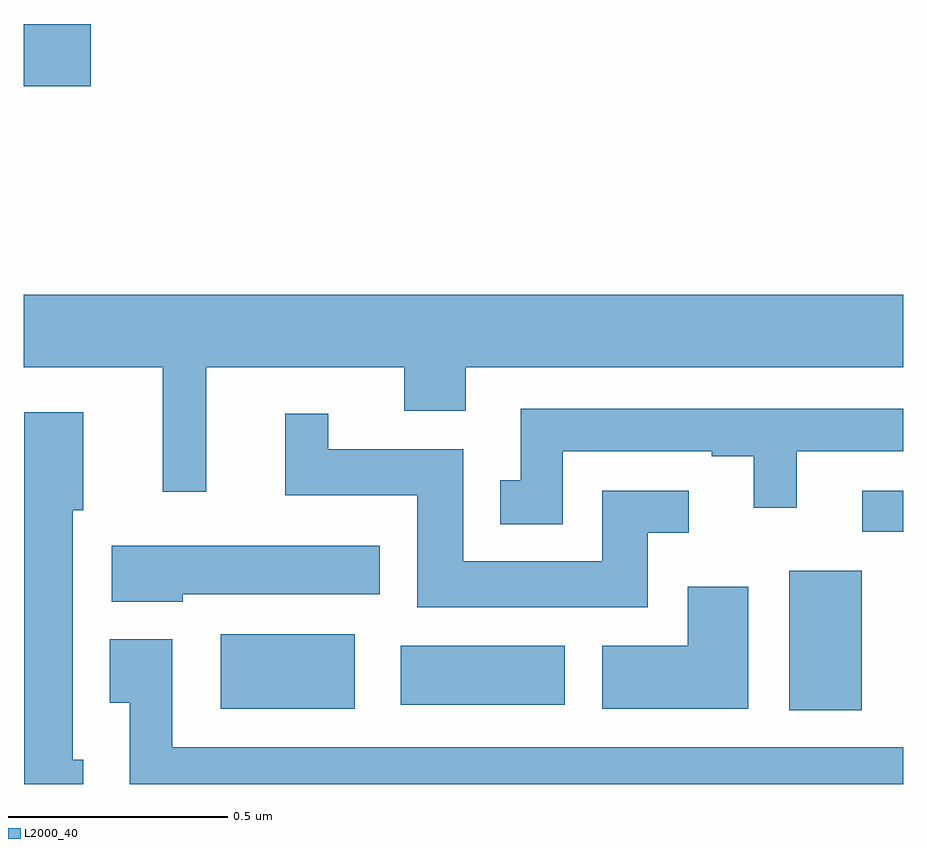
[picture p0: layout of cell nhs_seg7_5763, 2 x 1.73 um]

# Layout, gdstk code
import gdstk
lib = gdstk.Library(unit=1e-6, precision=1e-09)
def R(c, l, rs):  # rectangles x0, y0, x1, y1
    for r in rs: c.add(gdstk.rectangle(r[:2], r[2:], *l))
def P(c, l, *ps):  # polygons
    for p in ps: c.add(gdstk.Polygon(p, *l))
L2000_40 = (2000, 40)

nhs_seg7_5763 = lib.new_cell('nhs_seg7_5763')
R(nhs_seg7_5763, L2000_40, [(191.741,1001.168,191.905,1001.485), (190.448,1001.171,190.753,1001.341), (190.857,1001.18,191.23,1001.314), (191.907,1001.574,192,1001.667), (190,1002.586,190.153,1002.728)])
P(nhs_seg7_5763, L2000_40, [(190.415,1001.948),(190.865,1001.948),(190.865,1001.849),(191.005,1001.849),(191.005,1001.948),(192,1001.948),(192,1002.112),(190,1002.112),(190,1001.948),(190.316,1001.948),(190.316,1001.664),(190.415,1001.664)],
  [(191.226,1001.757),(191.564,1001.757),(191.564,1001.745),(191.66,1001.745),(191.66,1001.628),(191.758,1001.628),(191.758,1001.757),(192,1001.757),(192,1001.853),(191.13,1001.853),(191.13,1001.691),(191.084,1001.691),(191.084,1001.591),(191.226,1001.591)],
  [(190.135,1001.055),(190.111,1001.055),(190.111,1001.622),(190.135,1001.622),(190.135,1001.845),(190.001,1001.845),(190.001,1001),(190.135,1001)],
  [(191.419,1001.571),(191.512,1001.571),(191.512,1001.667),(191.315,1001.667),(191.315,1001.506),(190.999,1001.506),(190.999,1001.761),(190.693,1001.761),(190.693,1001.842),(190.595,1001.842),(190.595,1001.657),(190.895,1001.657),(190.895,1001.402),(191.419,1001.402)],
  [(190.362,1001.432),(190.81,1001.432),(190.81,1001.542),(190.2,1001.542),(190.2,1001.414),(190.362,1001.414)],
  [(191.647,1001.449),(191.51,1001.449),(191.51,1001.314),(191.315,1001.314),(191.315,1001.171),(191.647,1001.171)],
  [(192,1001.083),(190.338,1001.083),(190.338,1001.329),(190.196,1001.329),(190.196,1001.185),(190.241,1001.185),(190.241,1001),(192,1001)])

lib.write_gds('nhs_seg7_5763.gds')
